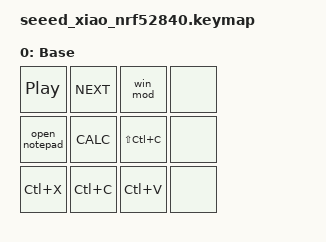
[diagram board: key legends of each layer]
#include <behaviors.dtsi>
#include <dt-bindings/zmk/keys.h>

/ {
    behaviors {
        win_mod: windows_maximize_minimize {
            compatible = "zmk,behavior-mod-morph";
            #binding-cells = <0>;
            bindings = <&kp LG(UP)>, <&kp LG(DOWN)>;
            mods = <(MOD_LSHIFT|MOD_RSHIFT)>;
        };

        open_notepad: open_notepad_macro {
            compatible = "zmk,behavior-macro";
            #binding-cells = <0>;
            wait-ms = <10>;
            tap-ms = <10>;
            bindings
                = <&kp LG(R)>
                , <&zmk,delay_ms 100>
                , <&kp N &kp O &kp T &kp E &kp P &kp A &kp D>
                , <&kp ENTER>;
        };
    };

    keymap {
        compatible = "zmk,keymap";

        // LAYER 0: BASE WORKSPACE (Media & Everyday Tools)
        base_layer {
            label = "Base";
            bindings = <
                &kp C_PP         &kp C_NEXT   &win_mod      &none
                &open_notepad    &kp CALC     &kp LS(LC(C)) &none
                &kp LC(X)        &kp LC(C)    &kp LC(V)     &none
            >;
        };
    };
};
